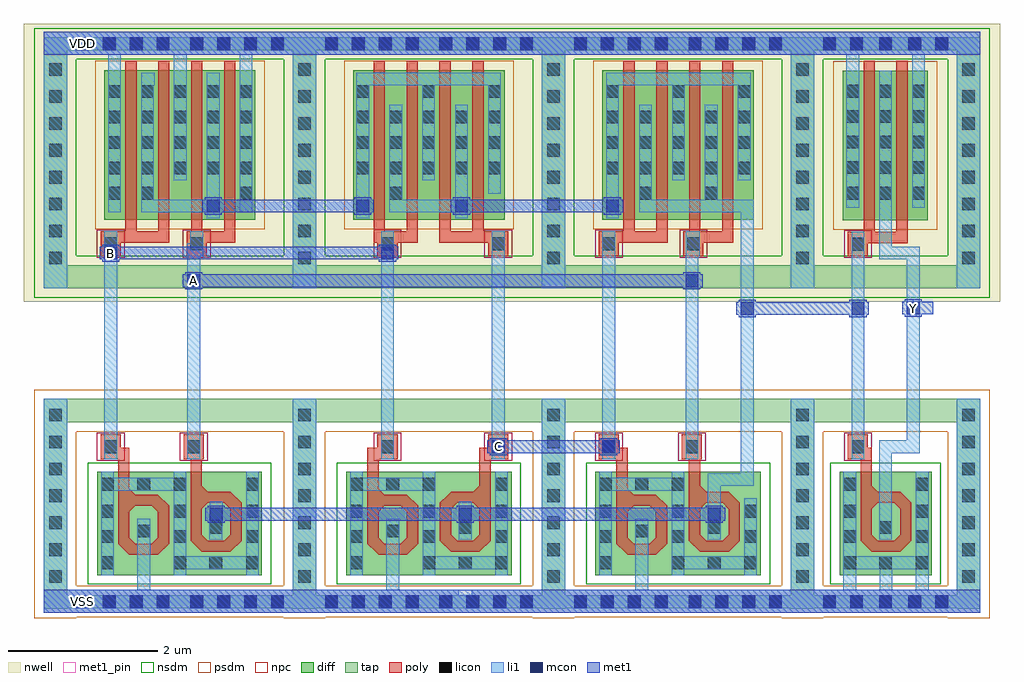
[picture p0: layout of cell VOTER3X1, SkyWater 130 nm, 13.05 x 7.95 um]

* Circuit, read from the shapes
.subckt VOTER3X1 A B C VDD VSS Y
XM1 n1 B VSS VSS sky130_fd_pr__nfet_01v8 w=2.6 l=0.1494
XM2 n1 A n2 VSS sky130_fd_pr__nfet_01v8 w=2.56 l=0.1464
XM3 n3 B VSS VSS sky130_fd_pr__nfet_01v8 w=2.6 l=0.1478
XM4 n3 C n2 VSS sky130_fd_pr__nfet_01v8 w=2.56 l=0.1468
XM5 n4 C VSS VSS sky130_fd_pr__nfet_01v8 w=2.6 l=0.1496
XM6 n4 A n2 VSS sky130_fd_pr__nfet_01v8 w=2.56 l=0.1461
XM7 VSS n2 Y VSS sky130_fd_pr__nfet_01v8 w=2.56 l=0.1473
XM8 n5 B VDD VDD sky130_fd_pr__pfet_01v8 w=2 l=0.15 m=2
XM9 n5 A VDD VDD sky130_fd_pr__pfet_01v8 w=2 l=0.15 m=2
XM10 n6 B n5 VDD sky130_fd_pr__pfet_01v8 w=2 l=0.15 m=2
XM11 n6 C n5 VDD sky130_fd_pr__pfet_01v8 w=2 l=0.15 m=2
XM12 n2 C n6 VDD sky130_fd_pr__pfet_01v8 w=2 l=0.15 m=2
XM13 n2 A n6 VDD sky130_fd_pr__pfet_01v8 w=2 l=0.15 m=2
XM14 Y n2 VDD VDD sky130_fd_pr__pfet_01v8 w=2 l=0.15 m=2
.ends

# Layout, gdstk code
import gdstk
lib = gdstk.Library(unit=1e-6, precision=1e-09)
def R(c, l, rs):  # rectangles x0, y0, x1, y1
    for r in rs: c.add(gdstk.rectangle(r[:2], r[2:], *l))
def A(c, l, x, y, w, h, nx, ny, dx, dy):  # array of equal rectangles
    R(c, l, [(x+i*dx, y+j*dy, x+i*dx+w, y+j*dy+h) for i in range(nx) for j in range(ny)])
def P(c, l, *ps):  # polygons
    for p in ps: c.add(gdstk.Polygon(p, *l))
nwell = (64, 20)
diff = (65, 20)
tap = (65, 44)
poly = (66, 20)
licon = (66, 44)
li1 = (67, 20)
mcon = (67, 44)
met1_pin = (68, 16)
met1 = (68, 20)
nsdm = (93, 44)
psdm = (94, 20)
npc = (95, 20)

voter3x1 = lib.new_cell('VOTER3X1')
R(voter3x1, nwell, [(-0.42,4.16,12.63,7.875)])
A(voter3x1, diff, 0.655, 5.255, 2.02, 2, 3, 1, 3.33, 0)
R(voter3x1, diff, [(0.56,0.505,2.76,1.885), (3.89,0.505,6.1,1.885), (7.22,0.505,9.43,1.885), (10.485,0.505,11.715,1.885), (10.525,5.25,11.665,7.25)])
A(voter3x1, tap, -0.155, 0.055, 0.31, 0.01, 4, 1, 3.33, 0)
A(voter3x1, tap, -0.155, 0.235, 0.31, 2.315, 4, 1, 3.33, 0)
A(voter3x1, tap, -0.155, 4.65, 0.31, 2.875, 4, 1, 3.33, 0)
R(voter3x1, tap, [(12.055,0.055,12.365,0.065), (-0.155,0.065,12.365,0.235), (12.055,0.235,12.365,2.55), (-0.155,2.55,12.365,2.86), (-0.155,4.34,12.365,4.65), (12.055,4.65,12.365,7.525), (-0.155,7.525,12.365,7.695)])
A(voter3x1, poly, 1.96, 0.815, 0.38, 0.15, 3, 1, 3.33, 0)
A(voter3x1, poly, 0.84, 1.43, 0.53, 0.15, 3, 1, 3.33, 0)
A(voter3x1, poly, 0.84, 1.58, 0.15, 0.475, 3, 1, 3.33, 0)
A(voter3x1, poly, 4.305, 2.205, 0.27, 0.18, 3, 2, 1.48, 2.565)
A(voter3x1, poly, 0.935, 5.1, 0.15, 2.285, 4, 1, 0.44, 0)
A(voter3x1, poly, 4.255, 5.1, 0.15, 2.285, 4, 1, 0.44, 0)
A(voter3x1, poly, 7.595, 5.1, 0.15, 2.285, 4, 1, 0.44, 0)
R(voter3x1, poly, [(0.99,0.775,1.37,0.925), (4.32,0.775,4.7,0.815), (7.65,0.775,8.03,0.815), (4.28,0.815,4.7,0.925), (7.61,0.815,8.03,0.925), (10.915,0.815,11.295,0.965), (0.84,0.925,0.99,1.43), (1.37,0.925,1.52,1.43), (4.17,0.925,4.32,1.43), (4.7,0.925,4.85,1.43), (7.5,0.925,7.65,1.43), (8.03,0.925,8.18,1.43), (1.81,0.965,1.96,1.47), (2.34,0.965,2.49,1.47), (5.14,0.965,5.29,1.47), (5.67,0.965,5.82,1.47), (8.47,0.965,8.62,1.395), (9,0.965,9.15,1.395), (10.765,0.965,10.915,1.47), (11.295,0.965,11.445,1.47), (8.47,1.395,8.625,1.47), (8.995,1.395,9.15,1.47), (1.81,1.47,2.34,1.62), (5.25,1.47,5.82,1.58), (8.47,1.47,9,1.62), (10.765,1.47,11.295,1.62), (5.29,1.58,5.82,1.62), (1.81,1.62,1.96,2.055), (5.63,1.62,5.82,1.66), (8.47,1.62,8.62,2.055), (10.765,1.62,10.915,2.055), (5.67,1.66,5.82,2.055), (0.605,2.055,0.99,2.205), (1.715,2.055,1.985,2.385), (4.17,2.055,4.575,2.205), (5.67,2.055,6.055,2.205), (7.265,2.055,7.65,2.205), (8.375,2.055,8.645,2.385), (10.595,2.055,10.915,2.205), (0.605,2.205,0.875,2.385), (10.595,2.205,10.865,2.385), (10.595,4.765,10.865,4.945), (0.605,4.77,0.875,4.95), (1.755,4.77,2.025,4.95), (8.395,4.77,8.665,4.95), (10.595,4.945,11.395,5.095), (0.605,4.95,1.525,5.1), (1.755,4.95,2.405,5.1), (4.255,4.95,4.845,5.1), (5.135,4.95,6.055,5.1), (7.265,4.95,8.185,5.1), (8.395,4.95,9.065,5.1), (10.805,5.095,10.955,7.38), (11.245,5.095,11.395,7.38)])
P(voter3x1, poly, [(0.99,1.66),(0.99,1.58),(1.07,1.58)],
  [(1.96,1.7),(1.96,1.62),(2.04,1.62)],
  [(1.37,1.58),(1.37,1.43),(1.52,1.43)],
  [(0.99,1.35),(0.99,1.43),(1.07,1.43)],
  [(1.29,1.43),(1.37,1.43),(1.37,1.35)],
  [(0.99,1.005),(0.99,0.925),(1.07,0.925)],
  [(1.29,0.925),(1.37,0.925),(1.37,1.005)],
  [(0.84,0.925),(0.99,0.925),(0.99,0.775)],
  [(1.37,0.775),(1.37,0.925),(1.52,0.925)],
  [(2.34,1.62),(2.34,1.47),(2.49,1.47)],
  [(1.96,1.39),(1.96,1.47),(2.04,1.47)],
  [(2.26,1.47),(2.34,1.47),(2.34,1.39)],
  [(1.96,1.045),(1.96,0.965),(2.04,0.965)],
  [(2.26,0.965),(2.34,0.965),(2.34,1.045)],
  [(1.81,0.965),(1.96,0.965),(1.96,0.815)],
  [(2.34,0.815),(2.34,0.965),(2.49,0.965)],
  [(5.63,1.66),(5.67,1.66),(5.67,1.7)],
  [(4.32,1.66),(4.32,1.58),(4.4,1.58)],
  [(5.59,1.62),(5.63,1.62),(5.63,1.66)],
  [(5.25,1.58),(5.29,1.58),(5.29,1.62)],
  [(4.7,1.58),(4.7,1.43),(4.85,1.43)],
  [(4.32,1.35),(4.32,1.43),(4.4,1.43)],
  [(4.62,1.43),(4.7,1.43),(4.7,1.35)],
  [(4.32,1.005),(4.32,0.925),(4.4,0.925)],
  [(4.62,0.925),(4.7,0.925),(4.7,1.005)],
  [(4.17,0.925),(4.28,0.925),(4.28,0.815)],
  [(4.28,0.815),(4.32,0.815),(4.32,0.775)],
  [(4.7,0.775),(4.7,0.925),(4.85,0.925)],
  [(5.14,1.47),(5.25,1.47),(5.25,1.58)],
  [(5.29,1.39),(5.29,1.47),(5.37,1.47)],
  [(5.59,1.47),(5.67,1.47),(5.67,1.39)],
  [(5.29,1.045),(5.29,0.965),(5.37,0.965)],
  [(5.59,0.965),(5.67,0.965),(5.67,1.045)],
  [(5.14,0.965),(5.29,0.965),(5.29,0.815)],
  [(5.67,0.815),(5.67,0.965),(5.82,0.965)],
  [(7.65,1.66),(7.65,1.58),(7.73,1.58)],
  [(8.62,1.7),(8.62,1.62),(8.7,1.62)],
  [(10.915,1.7),(10.915,1.62),(10.995,1.62)],
  [(8.03,1.58),(8.03,1.43),(8.18,1.43)],
  [(7.65,1.35),(7.65,1.43),(7.73,1.43)],
  [(7.95,1.43),(8.03,1.43),(8.03,1.35)],
  [(7.65,1.005),(7.65,0.925),(7.73,0.925)],
  [(7.95,0.925),(8.03,0.925),(8.03,1.005)],
  [(7.5,0.925),(7.61,0.925),(7.61,0.815)],
  [(7.61,0.815),(7.65,0.815),(7.65,0.775)],
  [(8.03,0.775),(8.03,0.925),(8.18,0.925)],
  [(9,1.62),(9,1.47),(9.15,1.47)],
  [(8.625,1.395),(8.625,1.47),(8.7,1.47)],
  [(8.92,1.47),(8.995,1.47),(8.995,1.395)],
  [(8.62,1.045),(8.62,0.965),(8.7,0.965)],
  [(8.92,0.965),(9,0.965),(9,1.045)],
  [(8.47,0.965),(8.62,0.965),(8.62,0.815)],
  [(9,0.815),(9,0.965),(9.15,0.965)],
  [(11.295,1.62),(11.295,1.47),(11.445,1.47)],
  [(10.915,1.39),(10.915,1.47),(10.995,1.47)],
  [(11.215,1.47),(11.295,1.47),(11.295,1.39)],
  [(10.915,1.045),(10.915,0.965),(10.995,0.965)],
  [(11.215,0.965),(11.295,0.965),(11.295,1.045)],
  [(10.765,0.965),(10.915,0.965),(10.915,0.815)],
  [(11.295,0.815),(11.295,0.965),(11.445,0.965)])
A(voter3x1, licon, 0.275, 0.065, 0.17, 0.17, 4, 2, 0.36, 7.46)
A(voter3x1, licon, 1.805, 0.065, 0.17, 0.17, 4, 2, 0.36, 7.46)
A(voter3x1, licon, 3.605, 0.065, 0.17, 0.17, 4, 2, 0.36, 7.46)
A(voter3x1, licon, 5.135, 0.065, 0.17, 0.17, 4, 2, 0.36, 7.46)
A(voter3x1, licon, 6.935, 0.065, 0.17, 0.17, 4, 2, 0.36, 7.46)
A(voter3x1, licon, 8.465, 0.065, 0.17, 0.17, 4, 2, 0.36, 7.46)
A(voter3x1, licon, 10.625, 0.065, 0.17, 0.17, 3, 2, 0.39, 7.46)
A(voter3x1, licon, -0.085, 0.4, 0.17, 0.17, 4, 7, 3.33, 0.36)
A(voter3x1, licon, 12.125, 0.4, 0.17, 0.17, 1, 7, 0, 0.36)
A(voter3x1, licon, 4.91, 0.585, 0.17, 0.17, 3, 1, 0.485, 0)
A(voter3x1, licon, 8.24, 0.585, 0.17, 0.17, 3, 1, 0.485, 0)
A(voter3x1, licon, 0.61, 0.935, 0.17, 0.17, 3, 2, 0.97, 0.34)
A(voter3x1, licon, 3.94, 0.935, 0.17, 0.17, 3, 2, 0.97, 0.34)
A(voter3x1, licon, 7.27, 0.935, 0.17, 0.17, 3, 2, 0.97, 0.34)
A(voter3x1, licon, 1.095, 1.01, 0.17, 0.17, 3, 1, 3.33, 0)
A(voter3x1, licon, 0.61, 1.635, 0.17, 0.17, 3, 1, 0.485, 0)
A(voter3x1, licon, 3.94, 1.635, 0.17, 0.17, 3, 1, 0.485, 0)
A(voter3x1, licon, 7.27, 1.635, 0.17, 0.17, 3, 1, 0.485, 0)
A(voter3x1, licon, 4.355, 2.135, 0.17, 0.17, 3, 2, 1.48, 2.715)
A(voter3x1, licon, -0.085, 4.66, 0.17, 0.17, 4, 8, 3.33, 0.36)
A(voter3x1, licon, 12.125, 4.66, 0.17, 0.17, 1, 8, 0, 0.36)
A(voter3x1, licon, 10.575, 5.525, 0.17, 0.17, 3, 2, 0.44, 0.345)
A(voter3x1, licon, 0.705, 5.865, 0.17, 0.17, 5, 4, 0.44, 0.34)
A(voter3x1, licon, 4.025, 5.865, 0.17, 0.17, 5, 3, 0.44, 0.34)
A(voter3x1, licon, 7.365, 5.865, 0.17, 0.17, 5, 3, 0.44, 0.34)
A(voter3x1, licon, 10.575, 6.21, 0.17, 0.17, 3, 3, 0.44, 0.34)
A(voter3x1, licon, 4.025, 6.885, 0.17, 0.17, 3, 1, 0.88, 0)
A(voter3x1, licon, 7.365, 6.885, 0.17, 0.17, 3, 1, 0.88, 0)
R(voter3x1, licon, [(10.265,0.065,10.435,0.235), (11.765,0.065,11.935,0.235), (0.61,0.585,0.78,0.755), (1.58,0.585,1.75,0.755), (2.06,0.585,2.23,0.755), (2.55,0.585,2.72,0.755), (3.94,0.585,4.11,0.755), (7.27,0.585,7.44,0.755), (10.535,0.585,10.705,0.755), (11.015,0.585,11.185,0.755), (11.505,0.585,11.675,0.755), (10.535,0.935,10.705,1.105), (11.505,0.935,11.675,1.105), (2.06,1.055,2.23,1.225), (5.395,1.055,5.565,1.225), (8.725,1.055,8.895,1.225), (11.015,1.055,11.185,1.225), (10.535,1.275,10.705,1.445), (11.505,1.275,11.675,1.445), (2.55,1.635,2.72,1.805), (5.88,1.635,6.05,1.805), (10.535,1.635,10.705,1.805), (11.505,1.635,11.675,1.805), (0.655,2.135,0.825,2.305), (1.765,2.135,1.935,2.305), (8.425,2.135,8.595,2.305), (10.645,2.135,10.815,2.305), (10.645,4.845,10.815,5.015), (0.655,4.85,0.825,5.02), (1.805,4.85,1.975,5.02), (8.445,4.85,8.615,5.02), (0.705,5.525,0.875,5.695), (1.145,5.525,1.315,5.695), (2.465,5.525,2.635,5.695), (4.465,5.525,4.635,5.695), (7.805,5.525,7.975,5.695), (8.685,5.525,8.855,5.695), (10.265,7.525,10.435,7.695), (11.765,7.525,11.935,7.695)])
A(voter3x1, li1, -0.155, 0.31, 0.31, 2.55, 4, 1, 3.33, 0)
A(voter3x1, li1, 1.095, 0.31, 0.17, 0.95, 3, 1, 3.33, 0)
A(voter3x1, li1, 10.535, 0.31, 0.17, 0.275, 3, 1, 0.485, 0)
A(voter3x1, li1, 0.61, 0.505, 0.17, 1.13, 3, 1, 3.33, 0)
A(voter3x1, li1, 1.58, 0.585, 1.14, 0.17, 3, 1, 3.33, 0)
A(voter3x1, li1, 1.58, 0.755, 0.17, 0.88, 3, 1, 3.33, 0)
A(voter3x1, li1, 0.61, 1.635, 1.14, 0.17, 3, 1, 3.33, 0)
A(voter3x1, li1, 4.355, 2.055, 0.17, 3.045, 3, 1, 1.48, 0)
A(voter3x1, li1, -0.155, 4.34, 0.31, 3.12, 4, 1, 3.33, 0)
R(voter3x1, li1, [(-0.155,0,12.365,0.235), (-0.155,0.235,5.395,0.31), (5.565,0.235,12.365,0.31), (12.055,0.31,12.365,2.86), (1.58,0.505,1.75,0.585), (2.55,0.505,2.72,0.585), (4.91,0.505,5.08,0.585), (5.88,0.505,6.05,0.585), (8.24,0.505,8.41,0.585), (9.21,0.505,9.38,0.585), (10.535,0.585,11.675,0.755), (2.55,0.755,2.72,1.885), (5.88,0.755,6.05,1.885), (9.21,0.755,9.38,1.53), (10.535,0.755,10.705,1.885), (11.505,0.755,11.675,1.885), (2.06,0.975,2.23,1.155), (5.395,0.975,5.565,1.485), (8.725,0.975,8.895,1.7), (11.015,0.975,11.185,2.135), (2.06,1.155,2.235,1.31), (2.065,1.31,2.235,1.485), (8.725,1.7,9.335,1.87), (0.61,1.805,0.78,1.885), (1.58,1.805,1.75,1.885), (3.94,1.805,4.11,1.885), (4.91,1.805,5.08,1.885), (7.27,1.805,7.44,1.885), (8.24,1.805,8.41,1.885), (9.165,1.87,9.335,5.355), (0.655,2.055,0.825,5.1), (1.765,2.055,1.935,4.77), (8.425,2.055,8.595,4.77), (10.645,2.055,10.815,5.095), (11.015,2.135,11.555,2.305), (11.385,2.305,11.555,4.725), (12.055,4.34,12.365,7.46), (11.015,4.725,11.555,4.895), (1.765,4.77,1.975,4.94), (8.425,4.77,8.615,5.1), (11.015,4.895,11.185,7.25), (1.805,4.94,1.975,5.1), (2.025,5.275,2.195,5.355), (4.025,5.275,4.195,7.055), (5.345,5.275,5.515,5.355), (7.365,5.275,7.535,7.055), (0.705,5.355,0.875,7.46), (1.145,5.355,2.195,5.525), (2.465,5.355,2.635,7.46), (4.465,5.355,5.515,5.525), (7.805,5.355,9.335,5.525), (10.575,5.415,10.745,7.46), (11.455,5.415,11.625,7.46), (1.145,5.525,1.315,7.055), (2.025,5.525,2.195,7.225), (4.465,5.525,4.635,6.795), (5.345,5.525,5.515,6.795), (7.805,5.525,7.975,6.795), (8.685,5.525,8.855,6.795), (5.785,5.605,5.955,7.055), (1.585,5.785,1.755,7.46), (4.905,5.785,5.075,7.055), (8.245,5.785,8.415,7.055), (9.125,5.785,9.295,7.055), (1.145,7.055,1.325,7.225), (4.025,7.055,5.955,7.225), (7.365,7.055,9.295,7.225), (-0.155,7.46,12.365,7.77)])
A(voter3x1, mcon, 0.275, 0.065, 0.17, 0.17, 4, 2, 0.36, 7.46)
A(voter3x1, mcon, 1.805, 0.065, 0.17, 0.17, 4, 2, 0.36, 7.46)
A(voter3x1, mcon, 3.605, 0.065, 0.17, 0.17, 4, 2, 0.36, 7.46)
A(voter3x1, mcon, 5.135, 0.065, 0.17, 0.17, 4, 2, 0.36, 7.46)
A(voter3x1, mcon, 6.935, 0.065, 0.17, 0.17, 4, 2, 0.36, 7.46)
A(voter3x1, mcon, 8.465, 0.065, 0.17, 0.17, 4, 2, 0.36, 7.46)
A(voter3x1, mcon, 10.625, 0.065, 0.17, 0.17, 3, 2, 0.39, 7.46)
A(voter3x1, mcon, 2.065, 1.235, 0.17, 0.17, 3, 1, 3.33, 0)
R(voter3x1, mcon, [(10.265,0.065,10.435,0.235), (11.765,0.065,11.935,0.235), (5.835,2.135,6.005,2.305), (7.315,2.135,7.485,2.305), (9.165,3.985,9.335,4.155), (10.645,3.985,10.815,4.155), (11.385,3.99,11.555,4.16), (1.765,4.355,1.935,4.525), (8.425,4.355,8.595,4.525), (0.655,4.725,0.825,4.895), (4.355,4.725,4.525,4.895), (2.025,5.355,2.195,5.525), (4.025,5.355,4.195,5.525), (5.345,5.355,5.515,5.525), (7.365,5.355,7.535,5.525), (10.265,7.525,10.435,7.695), (11.765,7.525,11.935,7.695)])
R(voter3x1, met1_pin, [(0.275,0.065,0.445,0.235), (5.835,2.135,6.005,2.305), (11.385,3.99,11.555,4.16), (1.765,4.355,1.935,4.525), (0.655,4.725,0.825,4.895), (0.275,7.525,0.445,7.695)])
A(voter3x1, met1, 2.035, 1.205, 0.23, 0.03, 3, 2, 3.33, 0.2)
R(voter3x1, met1, [(-0.155,0,12.365,0.31), (2.005,1.235,8.955,1.405), (5.805,2.105,6.035,2.135), (7.285,2.105,7.515,2.135), (5.775,2.135,7.545,2.305), (5.805,2.305,6.035,2.335), (7.285,2.305,7.515,2.335), (9.135,3.955,9.365,3.985), (10.615,3.955,10.845,3.985), (11.355,3.96,11.585,3.99), (9.105,3.985,10.875,4.155), (11.325,3.99,11.735,4.16), (9.135,4.155,9.365,4.185), (10.615,4.155,10.845,4.185), (11.355,4.16,11.585,4.19), (1.735,4.325,1.965,4.355), (8.395,4.325,8.625,4.355), (1.705,4.355,8.655,4.525), (1.735,4.525,1.965,4.555), (8.395,4.525,8.625,4.555), (0.625,4.695,0.855,4.725), (4.325,4.695,4.555,4.725), (0.595,4.725,4.585,4.895), (0.625,4.895,0.855,4.925), (4.325,4.895,4.555,4.925), (1.995,5.325,2.225,5.355), (3.995,5.325,4.225,5.355), (5.315,5.325,5.545,5.355), (7.335,5.325,7.565,5.355), (1.965,5.355,4.255,5.525), (5.285,5.355,7.595,5.525), (1.995,5.525,2.225,5.555), (3.995,5.525,4.225,5.555), (5.315,5.525,5.545,5.555), (7.335,5.525,7.565,5.555), (-0.155,7.46,12.365,7.77)])
A(voter3x1, nsdm, -0.28, 4.775, 0.56, 2.625, 4, 1, 3.33, 0)
R(voter3x1, nsdm, [(0.435,0.38,2.885,2.01), (3.765,0.38,6.225,2.01), (7.095,0.38,9.555,2.01), (10.36,0.38,11.84,2.01), (-0.28,4.215,12.49,4.775), (11.93,4.775,12.49,7.4), (-0.28,7.4,12.49,7.82)])
A(voter3x1, psdm, -0.28, -0.07, 0.56, 0.01, 4, 1, 3.33, 0)
A(voter3x1, psdm, -0.28, 0.36, 0.56, 2.065, 4, 1, 3.33, 0)
A(voter3x1, psdm, 0.53, 5.13, 2.27, 2.25, 3, 1, 3.33, 0)
R(voter3x1, psdm, [(11.93,-0.07,12.49,-0.06), (-0.28,-0.06,12.49,0.36), (11.93,0.36,12.49,2.425), (-0.28,2.425,12.49,2.985), (10.4,5.125,11.79,7.375)])
A(voter3x1, npc, 4.255, 2.035, 0.37, 0.37, 3, 2, 1.48, 2.715)
R(voter3x1, npc, [(0.555,2.035,0.925,2.405), (1.665,2.035,2.035,2.405), (8.325,2.035,8.695,2.405), (10.545,2.035,10.915,2.405), (10.545,4.745,10.915,5.115), (0.555,4.75,0.925,5.12), (1.705,4.75,2.075,5.12), (8.345,4.75,8.715,5.12)])
voter3x1.add(gdstk.Label('Y', (11.47,4.075), layer=68, texttype=16))
voter3x1.add(gdstk.Label('A', (1.85,4.44), layer=68, texttype=16))
voter3x1.add(gdstk.Label('B', (0.74,4.81), layer=68, texttype=16))
voter3x1.add(gdstk.Label('C', (5.92,2.22), layer=68, texttype=16))
voter3x1.add(gdstk.Label('VDD', (0.36,7.61), layer=68, texttype=16))
voter3x1.add(gdstk.Label('VSS', (0.36,0.15), layer=68, texttype=16))

lib.write_gds('VOTER3X1.gds')
